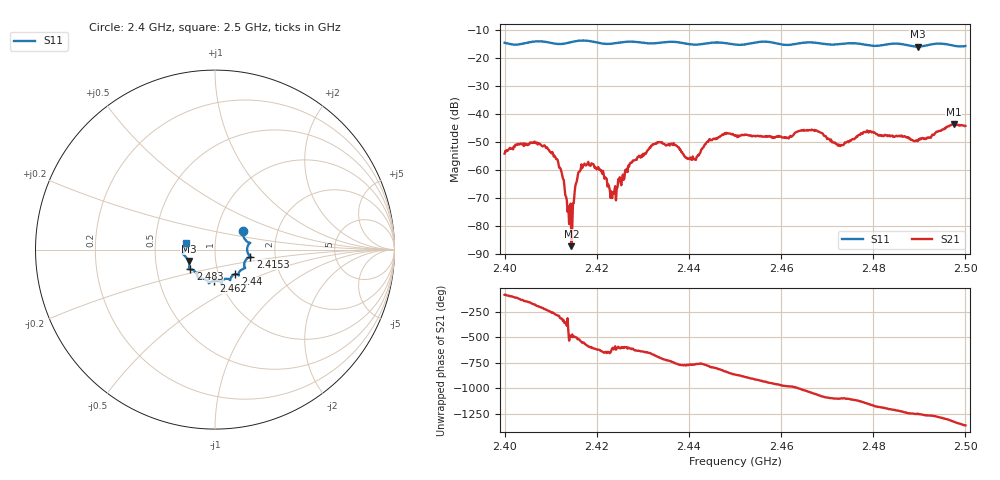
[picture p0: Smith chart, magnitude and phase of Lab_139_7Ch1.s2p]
# Hz S RI R 50
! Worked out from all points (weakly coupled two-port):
!   601 points, 2.4 GHz to 2.5 GHz, reference 50 ohm
!   highest |S21| = -43.72 dB at 2.4975 GHz (marker M1); lowest = -87.3 dB at 2.4145 GHz (marker M2)
!   lowest |S11| = -15.9 dB at 2.4897 GHz (marker M3), VSWR 1.38, Z = 36.9 - j4.81 ohm
!   |S11| at or under -10 dB: start of sweep to end of sweep
!   S12 and S22 are empty: the file has one direction only
!   S11 on the Smith chart (normalised r, x): 2.4 GHz: 1.33, +0.29; 2.4153 GHz: 1.48, -0.12; 2.44 GHz: 1.20, -0.34; 2.462 GHz: 0.93, -0.33; 2.483 GHz: 0.74, -0.17; 2.5 GHz: 0.72, +0.06
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2.4e9  0.1549 0.1064  0.000248 -0.00195  0 0  0 0
2.409167e9  0.1905 0.0331  -0.0015 0.00206  0 0  0 0
2.411833e9  0.1784 0.00193  0.000401 0.00103  0 0  0 0
2.413667e9  0.1852 -0.0238  0.000122 0.00013  0 0  0 0
2.4145e9  0.1909 -0.0328  -3.16e-05 -2.97e-05  0 0  0 0
2.415333e9  0.1965 -0.0387  -0.000378 -0.000344  0 0  0 0
2.416667e9  0.202 -0.0427  -0.00126 0.000112  0 0  0 0
2.420833e9  0.1766 -0.0521  5.2e-05 0.000971  0 0  0 0
2.423667e9  0.1629 -0.0837  -6.59e-05 0.00037  0 0  0 0
2.427333e9  0.1681 -0.1029  -0.000475 0.00126  0 0  0 0
2.433333e9  0.1309 -0.1338  0.00282 0.0013  0 0  0 0
2.44e9  0.1138 -0.1367  0.00101 -0.00126  0 0  0 0
2.45e9  0.0646 -0.1624  -0.00339 -0.00223  0 0  0 0
2.462e9  -0.00517 -0.1732  -0.000517 0.00402  0 0  0 0
2.466667e9  -0.0342 -0.1877  0.00432 0.00302  0 0  0 0
2.472667e9  -0.0768 -0.1606  0.00249 -0.00109  0 0  0 0
2.478333e9  -0.1 -0.1411  0.0019 -0.00433  0 0  0 0
2.483e9  -0.1378 -0.1096  -0.00206 -0.00362  0 0  0 0
2.483333e9  -0.1401 -0.1093  -0.00241 -0.00336  0 0  0 0
2.489667e9  -0.1475 -0.0636  -0.00323 -0.000519  0 0  0 0
2.4975e9  -0.1666 -0.000875  -0.00228 0.00611  0 0  0 0
2.5e9  -0.1598 0.0393  0.00175 0.00587  0 0  0 0
